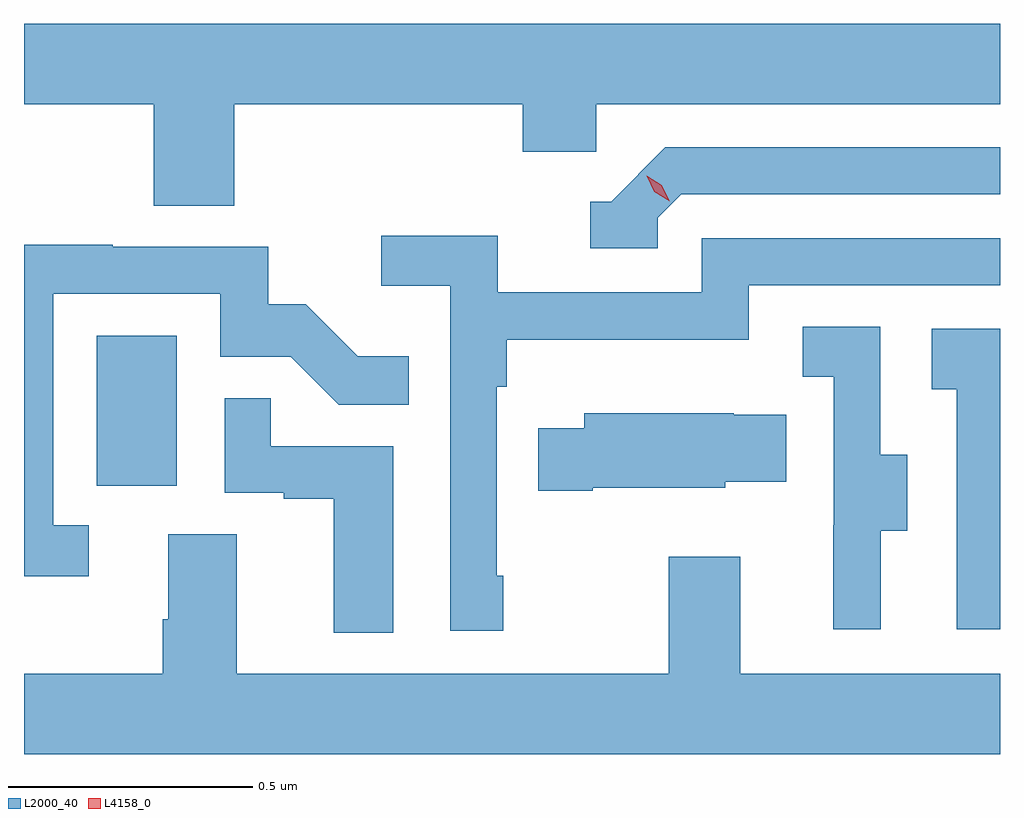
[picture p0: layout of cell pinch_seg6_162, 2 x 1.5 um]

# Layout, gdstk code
import gdstk
lib = gdstk.Library(unit=1e-6, precision=1e-09)
def R(c, l, rs):  # rectangles x0, y0, x1, y1
    for r in rs: c.add(gdstk.rectangle(r[:2], r[2:], *l))
def P(c, l, *ps):  # polygons
    for p in ps: c.add(gdstk.Polygon(p, *l))
L2000_40 = (2000, 40)
L4158_0 = (4158, 0)

pinch_seg6_162 = lib.new_cell('pinch_seg6_162')
R(pinch_seg6_162, L2000_40, [(1126.58,937.23,1126.744,937.537)])
P(pinch_seg6_162, L2000_40, [(1126.862,938.012),(1127.453,938.012),(1127.453,937.914),(1127.604,937.914),(1127.604,938.012),(1128.431,938.012),(1128.431,938.176),(1126.431,938.176),(1126.431,938.012),(1126.697,938.012),(1126.697,937.804),(1126.862,937.804)],
  [(1127.73,937.779),(1127.778,937.827),(1128.431,937.827),(1128.431,937.923),(1127.745,937.923),(1127.634,937.812),(1127.591,937.812),(1127.591,937.716),(1127.73,937.716)],
  [(1127.413,937.045),(1127.4,937.045),(1127.4,937.433),(1127.42,937.433),(1127.42,937.529),(1127.916,937.529),(1127.916,937.641),(1128.431,937.641),(1128.431,937.737),(1127.82,937.737),(1127.82,937.626),(1127.402,937.626),(1127.402,937.742),(1127.163,937.742),(1127.163,937.64),(1127.304,937.64),(1127.304,936.933),(1127.413,936.933)],
  [(1126.564,937.149),(1126.491,937.149),(1126.491,937.623),(1126.833,937.623),(1126.833,937.494),(1126.978,937.494),(1127.076,937.396),(1127.219,937.396),(1127.219,937.495),(1127.115,937.495),(1127.008,937.602),(1126.932,937.602),(1126.932,937.719),(1126.613,937.719),(1126.613,937.724),(1126.431,937.724),(1126.431,937.044),(1126.564,937.044)],
  [(1128.187,937.138),(1128.241,937.138),(1128.241,937.293),(1128.186,937.293),(1128.186,937.556),(1128.027,937.556),(1128.027,937.453),(1128.09,937.453),(1128.09,937.149),(1128.089,937.149),(1128.089,936.936),(1128.187,936.936)],
  [(1128.431,937.551),(1128.291,937.551),(1128.291,937.427),(1128.342,937.427),(1128.342,936.936),(1128.431,936.936)],
  [(1127.188,937.311),(1126.937,937.311),(1126.937,937.409),(1126.842,937.409),(1126.842,937.215),(1126.963,937.215),(1126.963,937.203),(1127.066,937.203),(1127.066,936.929),(1127.188,936.929)],
  [(1127.596,937.226),(1127.868,937.226),(1127.868,937.238),(1127.993,937.238),(1127.993,937.375),(1127.885,937.375),(1127.885,937.378),(1127.579,937.378),(1127.579,937.348),(1127.485,937.348),(1127.485,937.219),(1127.596,937.219)],
  [(1128.431,936.844),(1127.899,936.844),(1127.899,937.084),(1127.752,937.084),(1127.752,936.844),(1126.867,936.844),(1126.867,937.13),(1126.727,937.13),(1126.727,936.956),(1126.715,936.956),(1126.715,936.844),(1126.431,936.844),(1126.431,936.68),(1128.431,936.68)])
P(pinch_seg6_162, L4158_0, [(1127.754,937.813),(1127.723,937.832),(1127.707,937.865),(1127.707,937.865),(1127.707,937.865),(1127.738,937.846),(1127.754,937.813),(1127.754,937.813)])

lib.write_gds('pinch_seg6_162.gds')
